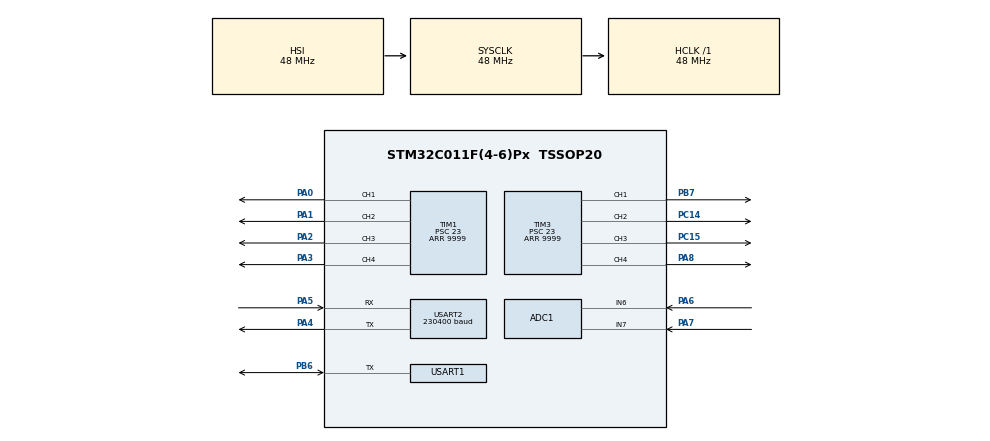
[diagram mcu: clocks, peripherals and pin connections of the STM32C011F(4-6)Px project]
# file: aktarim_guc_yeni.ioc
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ADC1.ClockPrescaler=ADC_CLOCK_ASYNC_DIV8
ADC1.ContinuousConvMode=DISABLE
ADC1.NbrOfConversion=1
ADC1.NbrOfConversionFlag=0
ADC1.OversamplingMode=ENABLE
ADC1.Ratio=ADC_OVERSAMPLING_RATIO_8
ADC1.SamplingTimeCommon1=ADC_SAMPLETIME_160CYCLES_5
ADC1.SelectedChannel=ADC_CHANNEL_6|ADC_CHANNEL_7
ADC1.Sequencer=NOT_FULLY_CONFIGURABLE
ADC1.master=1
Mcu.Family=STM32C0
Mcu.Name=STM32C011F(4-6)Px
Mcu.Package=TSSOP20
NVIC.ADC1_IRQn=true\:0\:0\:false\:false\:true\:true\:true\:true
NVIC.USART1_IRQn=true\:0\:0\:false\:false\:true\:true\:true\:true
NVIC.USART2_IRQn=true\:0\:0\:false\:false\:true\:true\:true\:true
PA0.Signal=S_TIM1_CH1
PA1.Signal=S_TIM1_CH2
PA13.Mode=Serial_Wire
PA13.Signal=DEBUG_SWDIO
PA14-BOOT0.Mode=Serial_Wire
PA14-BOOT0.Signal=DEBUG_SWCLK
PA2.Signal=S_TIM1_CH3
PA3.Signal=S_TIM1_CH4
PA4.Mode=Asynchronous
PA4.Signal=USART2_TX
PA5.Mode=Asynchronous
PA5.Signal=USART2_RX
PA6.Mode=IN6
PA6.Signal=ADC1_IN6
PA7.Mode=IN7
PA7.Signal=ADC1_IN7
PA8.Signal=S_TIM3_CH4
PB6.Mode=Half_duplex(single_wire_mode)
PB6.Signal=USART1_TX
PB7.Signal=S_TIM3_CH1
PC14-OSCX_IN\ (PC14).Signal=S_TIM3_CH2
PC15-OSCX_OUT\ (PC15).Signal=S_TIM3_CH3
ProjectManager.HeapSize=0x200
ProjectManager.StackSize=0x400
ProjectManager.TargetToolchain=STM32CubeIDE
RCC.ADCFreq_Value=48000000
RCC.AHBFreq_Value=48000000
RCC.CortexFreq_Value=48000000
RCC.EXTERNAL_CLOCK_VALUE=12288000
RCC.HCLKFreq_Value=48000000
RCC.HSE_VALUE=8000000
RCC.HSISYSCLKDivider=RCC_HSI_DIV1
RCC.HSI_VALUE=48000000
RCC.LSE_VALUE=32768
RCC.SYSCLKFreq_VALUE=48000000
SH.S_TIM1_CH1.0=TIM1_CH1,PWM Generation1 CH1
SH.S_TIM1_CH2.0=TIM1_CH2,PWM Generation2 CH2
SH.S_TIM1_CH3.0=TIM1_CH3,PWM Generation3 CH3
SH.S_TIM1_CH4.0=TIM1_CH4,PWM Generation4 CH4
SH.S_TIM3_CH1.0=TIM3_CH1,PWM Generation1 CH1
SH.S_TIM3_CH2.0=TIM3_CH2,PWM Generation2 CH2
SH.S_TIM3_CH3.0=TIM3_CH3,PWM Generation3 CH3
SH.S_TIM3_CH4.0=TIM3_CH4,PWM Generation4 CH4
TIM1.AutoReloadPreload=TIM_AUTORELOAD_PRELOAD_ENABLE
TIM1.Channel-PWM\ Generation1\ CH1=TIM_CHANNEL_1
TIM1.Channel-PWM\ Generation2\ CH2=TIM_CHANNEL_2
TIM1.Channel-PWM\ Generation3\ CH3=TIM_CHANNEL_3
TIM1.Channel-PWM\ Generation4\ CH4=TIM_CHANNEL_4
TIM1.Period=9999
TIM1.Prescaler=23
TIM1.Pulse-PWM\ Generation1\ CH1=3000
TIM1.Pulse-PWM\ Generation2\ CH2=3000
TIM1.Pulse-PWM\ Generation3\ CH3=3000
TIM1.Pulse-PWM\ Generation4\ CH4=3000
TIM3.AutoReloadPreload=TIM_AUTORELOAD_PRELOAD_ENABLE
TIM3.Channel-PWM\ Generation1\ CH1=TIM_CHANNEL_1
TIM3.Channel-PWM\ Generation2\ CH2=TIM_CHANNEL_2
TIM3.Channel-PWM\ Generation3\ CH3=TIM_CHANNEL_3
TIM3.Channel-PWM\ Generation4\ CH4=TIM_CHANNEL_4
TIM3.Period=9999
TIM3.Prescaler=23
TIM3.Pulse-PWM\ Generation1\ CH1=3000
TIM3.Pulse-PWM\ Generation2\ CH2=3000
TIM3.Pulse-PWM\ Generation3\ CH3=3000
TIM3.Pulse-PWM\ Generation4\ CH4=3000
USART1.BaudRate=57600
USART1.VirtualMode-Half_duplex(single_wire_mode)=VM_ASYNC
USART2.BaudRate=230400
USART2.VirtualMode-Asynchronous=VM_ASYNC
board=custom

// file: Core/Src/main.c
/* USER CODE BEGIN Header */
/**
  ******************************************************************************
  * @file           : main.c
  * @brief          : Main program body
  ******************************************************************************
  * @attention
  *
  * Copyright (c) 2024 STMicroelectronics.
  * All rights reserved.
  *
  * This software is licensed under terms that can be found in the LICENSE file
  * in the root directory of this software component.
  * If no LICENSE file comes with this software, it is provided AS-IS.
  *
  ******************************************************************************
  */
/* USER CODE END Header */
#include "main.h"

ADC_HandleTypeDef hadc1;

TIM_HandleTypeDef htim1;
TIM_HandleTypeDef htim3;

UART_HandleTypeDef huart1;
UART_HandleTypeDef huart2;

/* USER CODE BEGIN PV */
uint8_t uart_incoming;
uint16_t pwm_vals[8] = {3000, 3000, 3000, 3000, 3000, 3000, 3000, 3000};
uint16_t adc_vals[2];
uint8_t uart_tx_buffer[8];
uint8_t msg[26];
/* USER CODE END PV */

void SystemClock_Config(void);
static void MX_GPIO_Init(void);
static void MX_ADC1_Init(void);
static void MX_TIM1_Init(void);
static void MX_TIM3_Init(void);
static void MX_USART1_UART_Init(void);
static void MX_USART2_UART_Init(void);

int main(void)
{

  /* MCU Configuration--------------------------------------------------------*/

  /* Reset of all peripherals, Initializes the Flash interface and the Systick. */
  HAL_Init();

  /* Configure the system clock */
  SystemClock_Config();

  /* Initialize all configured peripherals */
  MX_GPIO_Init();
  MX_ADC1_Init();
  MX_TIM1_Init();
  MX_TIM3_Init();
  MX_USART1_UART_Init();
  MX_USART2_UART_Init();
  /* USER CODE BEGIN 2 */
  HAL_TIM_PWM_Start(&htim1, TIM_CHANNEL_1);
  HAL_TIM_PWM_Start(&htim1, TIM_CHANNEL_2);
  HAL_TIM_PWM_Start(&htim1, TIM_CHANNEL_3);
  HAL_TIM_PWM_Start(&htim1, TIM_CHANNEL_4);
  HAL_TIM_PWM_Start(&htim3, TIM_CHANNEL_1);
  HAL_TIM_PWM_Start(&htim3, TIM_CHANNEL_2);
  HAL_TIM_PWM_Start(&htim3, TIM_CHANNEL_3);
  HAL_TIM_PWM_Start(&htim3, TIM_CHANNEL_4);
  HAL_HalfDuplex_EnableReceiver(&huart1);
  HAL_UART_Receive_IT(&huart1, &uart_incoming, 1);
  /* USER CODE END 2 */

  /* Infinite loop */
  /* USER CODE BEGIN WHILE */
  uint8_t dbg_tx_buf[12];
  HAL_Delay(10000);
  while (1)
  {
    HAL_ADC_Start(&hadc1);
    HAL_ADC_PollForConversion(&hadc1, 5);
    adc_vals[0] = HAL_ADC_GetValue(&hadc1);
    HAL_ADC_PollForConversion(&hadc1, 5);
    adc_vals[1] = HAL_ADC_GetValue(&hadc1);
    HAL_ADC_Stop(&hadc1);
    HAL_Delay(5);

    //HAL_UART_Transmit(&huart2, dbg_tx_buf, 12, 25);
//    sprintf(uart_tx_buffer, "[%03x%03x]", adc_vals[0], adc_vals[1]);
//    HAL_UART_Transmit(&huart1, uart_tx_buffer, 8, 10);
    /* USER CODE END WHILE */

  }
}

void SystemClock_Config(void)
{
  RCC_OscInitTypeDef RCC_OscInitStruct = {0};
  RCC_ClkInitTypeDef RCC_ClkInitStruct = {0};

  /** Initializes the RCC Oscillators according to the specified parameters
  * in the RCC_OscInitTypeDef structure.
  */
  RCC_OscInitStruct.OscillatorType = RCC_OSCILLATORTYPE_HSI;
  RCC_OscInitStruct.HSIState = RCC_HSI_ON;
  RCC_OscInitStruct.HSIDiv = RCC_HSI_DIV1;
  RCC_OscInitStruct.HSICalibrationValue = RCC_HSICALIBRATION_DEFAULT;
  if (HAL_RCC_OscConfig(&RCC_OscInitStruct) != HAL_OK)
  {
    Error_Handler();
  }

  /** Initializes the CPU, AHB and APB buses clocks
  */
  RCC_ClkInitStruct.ClockType = RCC_CLOCKTYPE_HCLK|RCC_CLOCKTYPE_SYSCLK
                              |RCC_CLOCKTYPE_PCLK1;
  RCC_ClkInitStruct.SYSCLKSource = RCC_SYSCLKSOURCE_HSI;
  RCC_ClkInitStruct.SYSCLKDivider = RCC_SYSCLK_DIV1;
  RCC_ClkInitStruct.AHBCLKDivider = RCC_HCLK_DIV1;
  RCC_ClkInitStruct.APB1CLKDivider = RCC_APB1_DIV1;

  if (HAL_RCC_ClockConfig(&RCC_ClkInitStruct, FLASH_LATENCY_1) != HAL_OK)
  {
    Error_Handler();
  }
}

static void MX_ADC1_Init(void)
{

  ADC_ChannelConfTypeDef sConfig = {0};

  /** Configure the global features of the ADC (Clock, Resolution, Data Alignment and number of conversion)
  */
  hadc1.Instance = ADC1;
  hadc1.Init.ClockPrescaler = ADC_CLOCK_ASYNC_DIV8;
  hadc1.Init.Resolution = ADC_RESOLUTION_12B;
  hadc1.Init.DataAlign = ADC_DATAALIGN_RIGHT;
  hadc1.Init.ScanConvMode = ADC_SCAN_SEQ_FIXED;
  hadc1.Init.EOCSelection = ADC_EOC_SINGLE_CONV;
  hadc1.Init.LowPowerAutoWait = DISABLE;
  hadc1.Init.LowPowerAutoPowerOff = DISABLE;
  hadc1.Init.ContinuousConvMode = DISABLE;
  hadc1.Init.NbrOfConversion = 1;
  hadc1.Init.DiscontinuousConvMode = DISABLE;
  hadc1.Init.ExternalTrigConv = ADC_SOFTWARE_START;
  hadc1.Init.ExternalTrigConvEdge = ADC_EXTERNALTRIGCONVEDGE_NONE;
  hadc1.Init.DMAContinuousRequests = DISABLE;
  hadc1.Init.Overrun = ADC_OVR_DATA_PRESERVED;
  hadc1.Init.SamplingTimeCommon1 = ADC_SAMPLETIME_160CYCLES_5;
  hadc1.Init.OversamplingMode = ENABLE;
  hadc1.Init.Oversampling.Ratio = ADC_OVERSAMPLING_RATIO_8;
  hadc1.Init.Oversampling.RightBitShift = ADC_RIGHTBITSHIFT_NONE;
  hadc1.Init.Oversampling.TriggeredMode = ADC_TRIGGEREDMODE_SINGLE_TRIGGER;
  hadc1.Init.TriggerFrequencyMode = ADC_TRIGGER_FREQ_HIGH;
  if (HAL_ADC_Init(&hadc1) != HAL_OK)
  {
    Error_Handler();
  }

  /** Configure Regular Channel
  */
  sConfig.Channel = ADC_CHANNEL_6;
  sConfig.Rank = ADC_RANK_CHANNEL_NUMBER;
  if (HAL_ADC_ConfigChannel(&hadc1, &sConfig) != HAL_OK)
  {
    Error_Handler();
  }

  /** Configure Regular Channel
  */
  sConfig.Channel = ADC_CHANNEL_7;
  if (HAL_ADC_ConfigChannel(&hadc1, &sConfig) != HAL_OK)
  {
    Error_Handler();
  }

}

static void MX_TIM1_Init(void)
{

  TIM_MasterConfigTypeDef sMasterConfig = {0};
  TIM_OC_InitTypeDef sConfigOC = {0};
  TIM_BreakDeadTimeConfigTypeDef sBreakDeadTimeConfig = {0};

  htim1.Instance = TIM1;
  htim1.Init.Prescaler = 23;
  htim1.Init.CounterMode = TIM_COUNTERMODE_UP;
  htim1.Init.Period = 9999;
  htim1.Init.ClockDivision = TIM_CLOCKDIVISION_DIV1;
  htim1.Init.RepetitionCounter = 0;
  htim1.Init.AutoReloadPreload = TIM_AUTORELOAD_PRELOAD_ENABLE;
  if (HAL_TIM_PWM_Init(&htim1) != HAL_OK)
  {
    Error_Handler();
  }
  sMasterConfig.MasterOutputTrigger = TIM_TRGO_RESET;
  sMasterConfig.MasterOutputTrigger2 = TIM_TRGO2_RESET;
  sMasterConfig.MasterSlaveMode = TIM_MASTERSLAVEMODE_DISABLE;
  if (HAL_TIMEx_MasterConfigSynchronization(&htim1, &sMasterConfig) != HAL_OK)
  {
    Error_Handler();
  }
  sConfigOC.OCMode = TIM_OCMODE_PWM1;
  sConfigOC.Pulse = 3000;
  sConfigOC.OCPolarity = TIM_OCPOLARITY_HIGH;
  sConfigOC.OCNPolarity = TIM_OCNPOLARITY_HIGH;
  sConfigOC.OCFastMode = TIM_OCFAST_DISABLE;
  sConfigOC.OCIdleState = TIM_OCIDLESTATE_RESET;
  sConfigOC.OCNIdleState = TIM_OCNIDLESTATE_RESET;
  if (HAL_TIM_PWM_ConfigChannel(&htim1, &sConfigOC, TIM_CHANNEL_1) != HAL_OK)
  {
    Error_Handler();
  }
  if (HAL_TIM_PWM_ConfigChannel(&htim1, &sConfigOC, TIM_CHANNEL_2) != HAL_OK)
  {
    Error_Handler();
  }
  if (HAL_TIM_PWM_ConfigChannel(&htim1, &sConfigOC, TIM_CHANNEL_3) != HAL_OK)
  {
    Error_Handler();
  }
  if (HAL_TIM_PWM_ConfigChannel(&htim1, &sConfigOC, TIM_CHANNEL_4) != HAL_OK)
  {
    Error_Handler();
  }
  sBreakDeadTimeConfig.OffStateRunMode = TIM_OSSR_DISABLE;
  sBreakDeadTimeConfig.OffStateIDLEMode = TIM_OSSI_DISABLE;
  sBreakDeadTimeConfig.LockLevel = TIM_LOCKLEVEL_OFF;
  sBreakDeadTimeConfig.DeadTime = 0;
  sBreakDeadTimeConfig.BreakState = TIM_BREAK_DISABLE;
  sBreakDeadTimeConfig.BreakPolarity = TIM_BREAKPOLARITY_HIGH;
  sBreakDeadTimeConfig.BreakFilter = 0;
  sBreakDeadTimeConfig.BreakAFMode = TIM_BREAK_AFMODE_INPUT;
  sBreakDeadTimeConfig.Break2State = TIM_BREAK2_DISABLE;
  sBreakDeadTimeConfig.Break2Polarity = TIM_BREAK2POLARITY_HIGH;
  sBreakDeadTimeConfig.Break2Filter = 0;
  sBreakDeadTimeConfig.Break2AFMode = TIM_BREAK_AFMODE_INPUT;
  sBreakDeadTimeConfig.AutomaticOutput = TIM_AUTOMATICOUTPUT_DISABLE;
  if (HAL_TIMEx_ConfigBreakDeadTime(&htim1, &sBreakDeadTimeConfig) != HAL_OK)
  {
    Error_Handler();
  }
  HAL_TIM_MspPostInit(&htim1);

}

static void MX_TIM3_Init(void)
{

  TIM_MasterConfigTypeDef sMasterConfig = {0};
  TIM_OC_InitTypeDef sConfigOC = {0};

  htim3.Instance = TIM3;
  htim3.Init.Prescaler = 23;
  htim3.Init.CounterMode = TIM_COUNTERMODE_UP;
  htim3.Init.Period = 9999;
  htim3.Init.ClockDivision = TIM_CLOCKDIVISION_DIV1;
  htim3.Init.AutoReloadPreload = TIM_AUTORELOAD_PRELOAD_ENABLE;
  if (HAL_TIM_PWM_Init(&htim3) != HAL_OK)
  {
    Error_Handler();
  }
  sMasterConfig.MasterOutputTrigger = TIM_TRGO_RESET;
  sMasterConfig.MasterSlaveMode = TIM_MASTERSLAVEMODE_DISABLE;
  if (HAL_TIMEx_MasterConfigSynchronization(&htim3, &sMasterConfig) != HAL_OK)
  {
    Error_Handler();
  }
  sConfigOC.OCMode = TIM_OCMODE_PWM1;
  sConfigOC.Pulse = 3000;
  sConfigOC.OCPolarity = TIM_OCPOLARITY_HIGH;
  sConfigOC.OCFastMode = TIM_OCFAST_DISABLE;
  if (HAL_TIM_PWM_ConfigChannel(&htim3, &sConfigOC, TIM_CHANNEL_1) != HAL_OK)
  {
    Error_Handler();
  }
  if (HAL_TIM_PWM_ConfigChannel(&htim3, &sConfigOC, TIM_CHANNEL_2) != HAL_OK)
  {
    Error_Handler();
  }
  if (HAL_TIM_PWM_ConfigChannel(&htim3, &sConfigOC, TIM_CHANNEL_3) != HAL_OK)
  {
    Error_Handler();
  }
  if (HAL_TIM_PWM_ConfigChannel(&htim3, &sConfigOC, TIM_CHANNEL_4) != HAL_OK)
  {
    Error_Handler();
  }
  HAL_TIM_MspPostInit(&htim3);

}

static void MX_USART1_UART_Init(void)
{

  huart1.Instance = USART1;
  huart1.Init.BaudRate = 57600;
  huart1.Init.WordLength = UART_WORDLENGTH_8B;
  huart1.Init.StopBits = UART_STOPBITS_1;
  huart1.Init.Parity = UART_PARITY_NONE;
  huart1.Init.Mode = UART_MODE_TX_RX;
  huart1.Init.HwFlowCtl = UART_HWCONTROL_NONE;
  huart1.Init.OverSampling = UART_OVERSAMPLING_16;
  huart1.Init.OneBitSampling = UART_ONE_BIT_SAMPLE_DISABLE;
  huart1.Init.ClockPrescaler = UART_PRESCALER_DIV1;
  huart1.AdvancedInit.AdvFeatureInit = UART_ADVFEATURE_NO_INIT;
  if (HAL_HalfDuplex_Init(&huart1) != HAL_OK)
  {
    Error_Handler();
  }
  if (HAL_UARTEx_SetTxFifoThreshold(&huart1, UART_TXFIFO_THRESHOLD_1_8) != HAL_OK)
  {
    Error_Handler();
  }
  if (HAL_UARTEx_SetRxFifoThreshold(&huart1, UART_RXFIFO_THRESHOLD_1_8) != HAL_OK)
  {
    Error_Handler();
  }
  if (HAL_UARTEx_DisableFifoMode(&huart1) != HAL_OK)
  {
    Error_Handler();
  }

}

static void MX_USART2_UART_Init(void)
{

  huart2.Instance = USART2;
  huart2.Init.BaudRate = 230400;
  huart2.Init.WordLength = UART_WORDLENGTH_8B;
  huart2.Init.StopBits = UART_STOPBITS_1;
  huart2.Init.Parity = UART_PARITY_NONE;
  huart2.Init.Mode = UART_MODE_TX_RX;
  huart2.Init.HwFlowCtl = UART_HWCONTROL_NONE;
  huart2.Init.OverSampling = UART_OVERSAMPLING_16;
  huart2.Init.OneBitSampling = UART_ONE_BIT_SAMPLE_DISABLE;
  huart2.Init.ClockPrescaler = UART_PRESCALER_DIV1;
  huart2.AdvancedInit.AdvFeatureInit = UART_ADVFEATURE_NO_INIT;
  if (HAL_UART_Init(&huart2) != HAL_OK)
  {
    Error_Handler();
  }

}

static void MX_GPIO_Init(void)
{

  /* GPIO Ports Clock Enable */
  __HAL_RCC_GPIOB_CLK_ENABLE();
  __HAL_RCC_GPIOC_CLK_ENABLE();
  __HAL_RCC_GPIOA_CLK_ENABLE();

}

/* USER CODE BEGIN 4 */

void HAL_UART_RxCpltCallback(UART_HandleTypeDef *huart){
  uint8_t i;
  for(i=0; i<10; i++);
  if(uart_incoming=='{')
  {
    for(i=0; i<26; i++)
    {
      msg[i]=0;
    }
    msg[0]='{';
  }
  else if(uart_incoming=='}')
  {
    msg[25]='}';
    uint8_t temp_str[4];
    temp_str[3] = 0;
    for(i=0; i<8; i++)
    {
      temp_str[0] = msg[3*i+1];
      temp_str[1] = msg[3*i+2];
      temp_str[2] = msg[3*i+3];
      pwm_vals[i] = strtol(temp_str, NULL, 16);
    }

    TIM1 -> CCR1 = pwm_vals[3];
    TIM1 -> CCR2 = pwm_vals[4];
    TIM1 -> CCR3 = pwm_vals[5];
    TIM1 -> CCR4 = pwm_vals[6];

    TIM3 -> CCR1 = pwm_vals[0];
    TIM3 -> CCR2 = pwm_vals[1];
    TIM3 -> CCR3 = pwm_vals[2];
    TIM3 -> CCR4 = pwm_vals[7];

  }
  else if(uart_incoming=='#'){
    adc_vals[0] %= 4096;
    adc_vals[1] %= 4096;
    sprintf(uart_tx_buffer, "[%03x%03x]", adc_vals[0], adc_vals[1]);
    HAL_HalfDuplex_EnableTransmitter(&huart1);
    HAL_UART_Transmit_IT(&huart2, msg, 26);
    HAL_UART_Transmit(&huart1, uart_tx_buffer, 8, 20);
    HAL_HalfDuplex_EnableReceiver(&huart1);

  }
  else if((uart_incoming < 58 && uart_incoming > 47) || (uart_incoming < 103 && uart_incoming > 96))
  {
    for(i=25; i>=0; i--)
    {
      if(msg[i]==0) continue;
      else break;
    }
    i++;
    msg[i] = uart_incoming;
  }
  HAL_UART_Receive_IT(&huart1, &uart_incoming, 1);
}
/* USER CODE END 4 */

void Error_Handler(void)
{
  __disable_irq();
  while (1)
  {
  }
}
